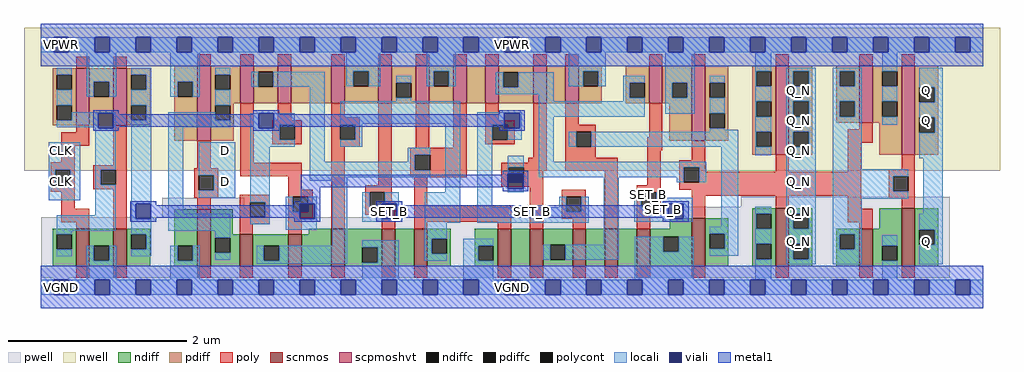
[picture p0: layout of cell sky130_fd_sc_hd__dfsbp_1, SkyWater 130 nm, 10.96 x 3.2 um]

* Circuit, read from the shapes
.subckt sky130_fd_sc_hd__dfsbp_1 CLK D SET_B VGND VNB VPB VPWR Q Q_N
XM1 VGND CLK n1 VNB sky130_fd_pr__nfet_01v8 w=0.42 l=0.15
XM2 n2 n1 VGND VNB sky130_fd_pr__nfet_01v8 w=0.42 l=0.15
XM3 n3 D VGND VNB sky130_fd_pr__nfet_01v8 w=0.64 l=0.15
XM4 n4 n1 n3 VNB sky130_fd_pr__nfet_01v8 w=0.36 l=0.15
XM5 n5 n2 n4 VNB sky130_fd_pr__nfet_01v8 w=0.36 l=0.15
XM6 VGND n6 n5 VNB sky130_fd_pr__nfet_01v8 w=0.42 l=0.15
XM7 n7 SET_B VGND VNB sky130_fd_pr__nfet_01v8 w=0.42 l=0.15
XM8 n6 n4 n7 VNB sky130_fd_pr__nfet_01v8 w=0.42 l=0.15
XM9 n8 n4 VGND VNB sky130_fd_pr__nfet_01v8 w=0.42 l=0.15
XM10 n9 n2 n8 VNB sky130_fd_pr__nfet_01v8 w=0.42 l=0.15
XM11 n10 n1 n9 VNB sky130_fd_pr__nfet_01v8 w=0.42 l=0.15
XM12 n11 n12 n10 VNB sky130_fd_pr__nfet_01v8 w=0.42 l=0.15
XM13 VGND SET_B n11 VNB sky130_fd_pr__nfet_01v8 w=0.42 l=0.15
XM14 n12 n9 VGND VNB sky130_fd_pr__nfet_01v8 w=0.54 l=0.15
XM15 Q_N n9 VGND VNB sky130_fd_pr__nfet_01v8 w=0.65 l=0.15
XM16 VGND n9 n13 VNB sky130_fd_pr__nfet_01v8 w=0.42 l=0.15
XM17 Q n13 VGND VNB sky130_fd_pr__nfet_01v8 w=0.65 l=0.15
XM18 VPWR CLK n1 VPB sky130_fd_pr__pfet_01v8_hvt w=0.64 l=0.15
XM19 n2 n1 VPWR VPB sky130_fd_pr__pfet_01v8_hvt w=0.64 l=0.15
XM20 n3 D VPWR VPB sky130_fd_pr__pfet_01v8_hvt w=0.84 l=0.15
XM21 n4 n2 n3 VPB sky130_fd_pr__pfet_01v8_hvt w=0.42 l=0.15
XM22 n14 n1 n4 VPB sky130_fd_pr__pfet_01v8_hvt w=0.42 l=0.15
XM23 VPWR n6 n14 VPB sky130_fd_pr__pfet_01v8_hvt w=0.42 l=0.15
XM24 n6 SET_B VPWR VPB sky130_fd_pr__pfet_01v8_hvt w=0.42 l=0.15
XM25 VPWR n4 n6 VPB sky130_fd_pr__pfet_01v8_hvt w=0.42 l=0.15
XM26 n15 n4 VPWR VPB sky130_fd_pr__pfet_01v8_hvt w=0.42 l=0.15
XM27 n9 n1 n15 VPB sky130_fd_pr__pfet_01v8_hvt w=0.42 l=0.15
XM28 n16 n2 n9 VPB sky130_fd_pr__pfet_01v8_hvt w=0.42 l=0.15
XM29 VPWR n12 n16 VPB sky130_fd_pr__pfet_01v8_hvt w=0.42 l=0.15
XM30 VPWR SET_B n9 VPB sky130_fd_pr__pfet_01v8_hvt w=0.42 l=0.15
XM31 n12 n9 VPWR VPB sky130_fd_pr__pfet_01v8_hvt w=0.84 l=0.15
XM32 Q_N n9 VPWR VPB sky130_fd_pr__pfet_01v8_hvt w=1 l=0.15
XM33 VPWR n9 n13 VPB sky130_fd_pr__pfet_01v8_hvt w=0.64 l=0.15
XM34 Q n13 VPWR VPB sky130_fd_pr__pfet_01v8_hvt w=1 l=0.15
.ends

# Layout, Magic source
magic
tech sky130B
magscale 1 2
<< nwell >>
rect -38 261 2154 582
<< pwell >>
rect 273 157 457 201
rect 1572 181 2041 203
rect 1386 157 2041 181
rect 1 21 2041 157
rect 29 -17 63 21
<< scnmos >>
rect 79 47 109 131
rect 163 47 193 131
rect 351 47 381 175
rect 446 47 476 119
rect 556 47 586 119
rect 652 47 682 131
rect 766 47 796 131
rect 838 47 868 131
rect 1026 47 1056 131
rect 1098 47 1128 131
rect 1194 47 1224 131
rect 1266 47 1296 131
rect 1338 47 1368 131
rect 1462 47 1492 155
rect 1650 47 1680 177
rect 1838 47 1868 131
rect 1933 47 1963 177
<< scpmoshvt >>
rect 79 363 109 491
rect 163 363 193 491
rect 351 329 381 497
rect 448 413 478 497
rect 532 413 562 497
rect 652 413 682 497
rect 758 413 788 497
rect 842 413 872 497
rect 926 413 956 497
rect 998 413 1028 497
rect 1106 413 1136 497
rect 1178 413 1208 497
rect 1366 413 1396 497
rect 1462 329 1492 497
rect 1650 297 1680 497
rect 1838 369 1868 497
rect 1933 297 1963 497
<< ndiff >>
rect 27 119 79 131
rect 27 85 35 119
rect 69 85 79 119
rect 27 47 79 85
rect 109 93 163 131
rect 109 59 119 93
rect 153 59 163 93
rect 109 47 163 59
rect 193 119 245 131
rect 193 85 203 119
rect 237 85 245 119
rect 193 47 245 85
rect 299 93 351 175
rect 299 59 307 93
rect 341 59 351 93
rect 299 47 351 59
rect 381 119 431 175
rect 1598 165 1650 177
rect 1412 131 1462 155
rect 601 119 652 131
rect 381 111 446 119
rect 381 77 391 111
rect 425 77 446 111
rect 381 47 446 77
rect 476 93 556 119
rect 476 59 501 93
rect 535 59 556 93
rect 476 47 556 59
rect 586 47 652 119
rect 682 89 766 131
rect 682 55 722 89
rect 756 55 766 89
rect 682 47 766 55
rect 796 47 838 131
rect 868 109 920 131
rect 868 75 878 109
rect 912 75 920 109
rect 868 47 920 75
rect 974 93 1026 131
rect 974 59 982 93
rect 1016 59 1026 93
rect 974 47 1026 59
rect 1056 47 1098 131
rect 1128 95 1194 131
rect 1128 61 1144 95
rect 1178 61 1194 95
rect 1128 47 1194 61
rect 1224 47 1266 131
rect 1296 47 1338 131
rect 1368 113 1462 131
rect 1368 79 1398 113
rect 1432 79 1462 113
rect 1368 47 1462 79
rect 1492 120 1544 155
rect 1492 86 1502 120
rect 1536 86 1544 120
rect 1492 47 1544 86
rect 1598 131 1606 165
rect 1640 131 1650 165
rect 1598 97 1650 131
rect 1598 63 1606 97
rect 1640 63 1650 97
rect 1598 47 1650 63
rect 1680 165 1732 177
rect 1680 131 1690 165
rect 1724 131 1732 165
rect 1883 131 1933 177
rect 1680 97 1732 131
rect 1680 63 1690 97
rect 1724 63 1732 97
rect 1680 47 1732 63
rect 1786 119 1838 131
rect 1786 85 1794 119
rect 1828 85 1838 119
rect 1786 47 1838 85
rect 1868 93 1933 131
rect 1868 59 1889 93
rect 1923 59 1933 93
rect 1868 47 1933 59
rect 1963 129 2015 177
rect 1963 95 1973 129
rect 2007 95 2015 129
rect 1963 47 2015 95
<< pdiff >>
rect 27 477 79 491
rect 27 443 35 477
rect 69 443 79 477
rect 27 409 79 443
rect 27 375 35 409
rect 69 375 79 409
rect 27 363 79 375
rect 109 461 163 491
rect 109 427 119 461
rect 153 427 163 461
rect 109 363 163 427
rect 193 477 245 491
rect 193 443 203 477
rect 237 443 245 477
rect 193 409 245 443
rect 193 375 203 409
rect 237 375 245 409
rect 193 363 245 375
rect 299 461 351 497
rect 299 427 307 461
rect 341 427 351 461
rect 299 329 351 427
rect 381 477 448 497
rect 381 443 391 477
rect 425 443 448 477
rect 381 413 448 443
rect 478 484 532 497
rect 478 450 488 484
rect 522 450 532 484
rect 478 413 532 450
rect 562 413 652 497
rect 682 485 758 497
rect 682 451 702 485
rect 736 451 758 485
rect 682 413 758 451
rect 788 459 842 497
rect 788 425 798 459
rect 832 425 842 459
rect 788 413 842 425
rect 872 485 926 497
rect 872 451 882 485
rect 916 451 926 485
rect 872 413 926 451
rect 956 413 998 497
rect 1028 483 1106 497
rect 1028 449 1038 483
rect 1072 449 1106 483
rect 1028 413 1106 449
rect 1136 413 1178 497
rect 1208 485 1260 497
rect 1208 451 1218 485
rect 1252 451 1260 485
rect 1208 413 1260 451
rect 1314 459 1366 497
rect 1314 425 1322 459
rect 1356 425 1366 459
rect 1314 413 1366 425
rect 1396 459 1462 497
rect 1396 425 1418 459
rect 1452 425 1462 459
rect 1396 413 1462 425
rect 381 409 433 413
rect 381 375 391 409
rect 425 375 433 409
rect 381 329 433 375
rect 1411 329 1462 413
rect 1492 459 1544 497
rect 1492 425 1502 459
rect 1536 425 1544 459
rect 1492 391 1544 425
rect 1492 357 1502 391
rect 1536 357 1544 391
rect 1492 329 1544 357
rect 1598 485 1650 497
rect 1598 451 1606 485
rect 1640 451 1650 485
rect 1598 417 1650 451
rect 1598 383 1606 417
rect 1640 383 1650 417
rect 1598 349 1650 383
rect 1598 315 1606 349
rect 1640 315 1650 349
rect 1598 297 1650 315
rect 1680 485 1732 497
rect 1680 451 1690 485
rect 1724 451 1732 485
rect 1680 417 1732 451
rect 1680 383 1690 417
rect 1724 383 1732 417
rect 1680 349 1732 383
rect 1786 485 1838 497
rect 1786 451 1794 485
rect 1828 451 1838 485
rect 1786 417 1838 451
rect 1786 383 1794 417
rect 1828 383 1838 417
rect 1786 369 1838 383
rect 1868 485 1933 497
rect 1868 451 1889 485
rect 1923 451 1933 485
rect 1868 417 1933 451
rect 1868 383 1889 417
rect 1923 383 1933 417
rect 1868 369 1933 383
rect 1680 315 1690 349
rect 1724 315 1732 349
rect 1680 297 1732 315
rect 1883 297 1933 369
rect 1963 449 2015 497
rect 1963 415 1973 449
rect 2007 415 2015 449
rect 1963 381 2015 415
rect 1963 347 1973 381
rect 2007 347 2015 381
rect 1963 297 2015 347
<< ndiffc >>
rect 35 85 69 119
rect 119 59 153 93
rect 203 85 237 119
rect 307 59 341 93
rect 391 77 425 111
rect 501 59 535 93
rect 722 55 756 89
rect 878 75 912 109
rect 982 59 1016 93
rect 1144 61 1178 95
rect 1398 79 1432 113
rect 1502 86 1536 120
rect 1606 131 1640 165
rect 1606 63 1640 97
rect 1690 131 1724 165
rect 1690 63 1724 97
rect 1794 85 1828 119
rect 1889 59 1923 93
rect 1973 95 2007 129
<< pdiffc >>
rect 35 443 69 477
rect 35 375 69 409
rect 119 427 153 461
rect 203 443 237 477
rect 203 375 237 409
rect 307 427 341 461
rect 391 443 425 477
rect 488 450 522 484
rect 702 451 736 485
rect 798 425 832 459
rect 882 451 916 485
rect 1038 449 1072 483
rect 1218 451 1252 485
rect 1322 425 1356 459
rect 1418 425 1452 459
rect 391 375 425 409
rect 1502 425 1536 459
rect 1502 357 1536 391
rect 1606 451 1640 485
rect 1606 383 1640 417
rect 1606 315 1640 349
rect 1690 451 1724 485
rect 1690 383 1724 417
rect 1794 451 1828 485
rect 1794 383 1828 417
rect 1889 451 1923 485
rect 1889 383 1923 417
rect 1690 315 1724 349
rect 1973 415 2007 449
rect 1973 347 2007 381
<< poly >>
rect 79 491 109 517
rect 163 491 193 517
rect 351 497 381 523
rect 448 497 478 523
rect 532 497 562 523
rect 652 497 682 523
rect 758 497 788 523
rect 842 497 872 523
rect 926 497 956 523
rect 998 497 1028 523
rect 1106 497 1136 523
rect 1178 497 1208 523
rect 1366 497 1396 523
rect 1462 497 1492 523
rect 1650 497 1680 523
rect 1838 497 1868 523
rect 1933 497 1963 523
rect 79 348 109 363
rect 46 318 109 348
rect 46 280 76 318
rect 22 264 76 280
rect 163 274 193 363
rect 22 230 32 264
rect 66 230 76 264
rect 22 214 76 230
rect 118 264 193 274
rect 351 267 381 329
rect 448 279 478 413
rect 532 375 562 413
rect 652 381 682 413
rect 520 365 586 375
rect 520 331 536 365
rect 570 331 586 365
rect 520 321 586 331
rect 652 365 716 381
rect 652 331 672 365
rect 706 331 716 365
rect 652 315 716 331
rect 118 230 134 264
rect 168 230 193 264
rect 118 220 193 230
rect 46 176 76 214
rect 46 146 109 176
rect 79 131 109 146
rect 163 131 193 220
rect 344 251 398 267
rect 344 217 354 251
rect 388 217 398 251
rect 448 249 586 279
rect 344 201 398 217
rect 556 219 586 249
rect 351 175 381 201
rect 446 191 514 207
rect 446 157 470 191
rect 504 157 514 191
rect 446 141 514 157
rect 556 203 610 219
rect 556 169 566 203
rect 600 169 610 203
rect 556 153 610 169
rect 446 119 476 141
rect 556 119 586 153
rect 652 131 682 315
rect 758 229 788 413
rect 842 313 872 413
rect 926 313 956 413
rect 998 375 1028 413
rect 998 365 1064 375
rect 998 331 1014 365
rect 1048 331 1064 365
rect 998 321 1064 331
rect 830 297 956 313
rect 830 263 840 297
rect 874 263 956 297
rect 1106 291 1136 413
rect 1094 279 1136 291
rect 830 247 956 263
rect 1034 269 1136 279
rect 728 213 788 229
rect 728 179 738 213
rect 772 193 788 213
rect 772 179 796 193
rect 728 163 796 179
rect 766 131 796 163
rect 838 183 868 247
rect 1034 235 1050 269
rect 1084 261 1136 269
rect 1178 365 1208 413
rect 1178 349 1246 365
rect 1178 315 1202 349
rect 1236 315 1246 349
rect 1366 337 1396 413
rect 1178 291 1246 315
rect 1362 307 1396 337
rect 1178 261 1296 291
rect 1084 235 1128 261
rect 1034 225 1128 235
rect 838 147 1056 183
rect 838 131 868 147
rect 1026 131 1056 147
rect 1098 131 1128 225
rect 1170 203 1224 219
rect 1170 169 1180 203
rect 1214 169 1224 203
rect 1170 153 1224 169
rect 1194 131 1224 153
rect 1266 131 1296 261
rect 1362 229 1392 307
rect 1462 285 1492 329
rect 1838 354 1868 369
rect 1812 324 1868 354
rect 1338 213 1392 229
rect 1434 269 1492 285
rect 1434 235 1444 269
rect 1478 259 1492 269
rect 1650 259 1680 297
rect 1812 259 1842 324
rect 1933 265 1963 297
rect 1478 235 1842 259
rect 1434 219 1842 235
rect 1338 179 1348 213
rect 1382 179 1392 213
rect 1338 163 1392 179
rect 1462 205 1842 219
rect 1338 131 1368 163
rect 1462 155 1492 205
rect 1650 177 1680 205
rect 1812 176 1842 205
rect 1904 249 1963 265
rect 1904 215 1914 249
rect 1948 215 1963 249
rect 1904 199 1963 215
rect 1933 177 1963 199
rect 1812 146 1868 176
rect 1838 131 1868 146
rect 79 21 109 47
rect 163 21 193 47
rect 351 21 381 47
rect 446 21 476 47
rect 556 21 586 47
rect 652 21 682 47
rect 766 21 796 47
rect 838 21 868 47
rect 1026 21 1056 47
rect 1098 21 1128 47
rect 1194 21 1224 47
rect 1266 21 1296 47
rect 1338 21 1368 47
rect 1462 21 1492 47
rect 1650 21 1680 47
rect 1838 21 1868 47
rect 1933 21 1963 47
<< polycont >>
rect 32 230 66 264
rect 536 331 570 365
rect 672 331 706 365
rect 134 230 168 264
rect 354 217 388 251
rect 470 157 504 191
rect 566 169 600 203
rect 1014 331 1048 365
rect 840 263 874 297
rect 738 179 772 213
rect 1050 235 1084 269
rect 1202 315 1236 349
rect 1180 169 1214 203
rect 1444 235 1478 269
rect 1348 179 1382 213
rect 1914 215 1948 249
<< locali >>
rect 0 527 29 561
rect 63 527 121 561
rect 155 527 213 561
rect 247 527 305 561
rect 339 527 397 561
rect 431 527 489 561
rect 523 527 581 561
rect 615 527 673 561
rect 707 527 765 561
rect 799 527 857 561
rect 891 527 949 561
rect 983 527 1041 561
rect 1075 527 1133 561
rect 1167 527 1225 561
rect 1259 527 1317 561
rect 1351 527 1409 561
rect 1443 527 1501 561
rect 1535 527 1593 561
rect 1627 527 1685 561
rect 1719 527 1777 561
rect 1811 527 1869 561
rect 1903 527 1961 561
rect 1995 527 2053 561
rect 2087 527 2116 561
rect 35 477 69 493
rect 35 409 69 443
rect 103 461 169 527
rect 103 427 119 461
rect 153 427 169 461
rect 203 477 248 493
rect 237 443 248 477
rect 203 409 248 443
rect 291 461 357 527
rect 291 427 307 461
rect 341 427 357 461
rect 391 477 425 493
rect 686 485 762 527
rect 472 450 488 484
rect 522 450 638 484
rect 686 451 702 485
rect 736 451 762 485
rect 866 485 932 527
rect 798 459 832 475
rect 69 391 168 393
rect 69 375 129 391
rect 35 359 129 375
rect 122 357 129 359
rect 163 357 168 391
rect 18 264 88 325
rect 18 230 32 264
rect 66 230 88 264
rect 18 195 88 230
rect 122 264 168 357
rect 122 230 134 264
rect 122 161 168 230
rect 35 127 168 161
rect 237 375 248 409
rect 391 409 425 443
rect 203 187 248 375
rect 203 153 213 187
rect 247 153 248 187
rect 35 119 69 127
rect 203 119 248 153
rect 286 375 391 393
rect 286 359 425 375
rect 286 165 320 359
rect 470 357 489 391
rect 523 365 570 391
rect 523 357 536 365
rect 470 331 536 357
rect 354 251 436 325
rect 388 217 436 251
rect 354 201 436 217
rect 470 315 570 331
rect 470 191 514 315
rect 604 281 638 450
rect 866 451 882 485
rect 916 451 932 485
rect 1186 485 1268 527
rect 1022 449 1038 483
rect 1072 449 1152 483
rect 1186 451 1218 485
rect 1252 451 1268 485
rect 1308 459 1356 475
rect 1022 433 1152 449
rect 798 417 832 425
rect 1118 417 1152 433
rect 1308 425 1322 459
rect 1308 417 1356 425
rect 672 367 942 417
rect 672 365 722 367
rect 706 331 722 365
rect 672 315 722 331
rect 824 297 874 313
rect 824 281 840 297
rect 604 263 840 281
rect 604 247 874 263
rect 604 239 688 247
rect 286 127 425 165
rect 504 157 514 191
rect 470 141 514 157
rect 550 169 566 203
rect 600 187 620 203
rect 550 153 581 169
rect 615 153 620 187
rect 550 129 620 153
rect 35 69 69 85
rect 103 59 119 93
rect 153 59 169 93
rect 237 85 248 119
rect 391 111 425 127
rect 203 69 248 85
rect 103 17 169 59
rect 291 59 307 93
rect 341 59 357 93
rect 654 93 688 239
rect 908 213 942 367
rect 722 179 738 213
rect 772 187 804 213
rect 722 153 765 179
rect 799 153 804 187
rect 722 147 804 153
rect 862 145 942 213
rect 980 391 1080 393
rect 980 365 1041 391
rect 980 179 1014 365
rect 1075 357 1080 391
rect 1048 331 1080 357
rect 1118 383 1356 417
rect 1402 459 1468 527
rect 1604 485 1640 527
rect 1402 425 1418 459
rect 1452 425 1468 459
rect 1402 389 1468 425
rect 1502 459 1536 475
rect 1502 391 1536 425
rect 1048 269 1084 295
rect 1048 255 1050 269
rect 1048 221 1049 255
rect 1118 281 1152 383
rect 1502 353 1536 357
rect 1604 451 1606 485
rect 1604 417 1640 451
rect 1604 383 1606 417
rect 1502 349 1566 353
rect 1186 315 1202 349
rect 1236 315 1566 349
rect 1118 269 1494 281
rect 1118 247 1444 269
rect 1083 221 1084 235
rect 1048 213 1084 221
rect 1164 179 1180 203
rect 980 169 1180 179
rect 1214 169 1230 203
rect 980 145 1230 169
rect 862 109 912 145
rect 391 61 425 77
rect 291 17 357 59
rect 485 59 501 93
rect 535 59 688 93
rect 485 53 688 59
rect 722 89 804 105
rect 756 55 804 89
rect 862 75 878 109
rect 862 59 912 75
rect 948 93 1016 109
rect 1264 95 1298 247
rect 1428 235 1444 247
rect 1478 235 1494 269
rect 1332 179 1348 213
rect 1382 201 1398 213
rect 1382 187 1464 201
rect 1382 179 1409 187
rect 1332 153 1409 179
rect 1443 153 1464 187
rect 1332 147 1464 153
rect 1528 136 1566 315
rect 1604 349 1640 383
rect 1604 315 1606 349
rect 1604 296 1640 315
rect 1674 485 1740 493
rect 1674 451 1690 485
rect 1724 451 1740 485
rect 1674 417 1740 451
rect 1674 383 1690 417
rect 1724 383 1740 417
rect 1674 349 1740 383
rect 1674 315 1690 349
rect 1724 315 1740 349
rect 1502 120 1566 136
rect 948 59 982 93
rect 1128 61 1144 95
rect 1178 61 1298 95
rect 1334 79 1398 113
rect 1432 79 1466 113
rect 722 17 804 55
rect 948 17 1016 59
rect 1334 17 1466 79
rect 1536 86 1566 120
rect 1502 70 1566 86
rect 1604 165 1640 181
rect 1604 131 1606 165
rect 1604 97 1640 131
rect 1604 63 1606 97
rect 1604 17 1640 63
rect 1674 165 1740 315
rect 1674 131 1690 165
rect 1724 131 1740 165
rect 1674 97 1740 131
rect 1674 63 1690 97
rect 1724 63 1740 97
rect 1674 51 1740 63
rect 1778 485 1844 493
rect 1778 451 1794 485
rect 1828 451 1844 485
rect 1778 417 1844 451
rect 1778 383 1794 417
rect 1828 383 1844 417
rect 1778 265 1844 383
rect 1889 485 1923 527
rect 1889 417 1923 451
rect 1889 365 1923 383
rect 1973 449 2025 493
rect 2007 415 2025 449
rect 1973 381 2025 415
rect 2007 347 2025 381
rect 1973 289 2025 347
rect 1778 249 1948 265
rect 1778 215 1914 249
rect 1778 199 1948 215
rect 1778 119 1844 199
rect 1982 165 2025 289
rect 1778 85 1794 119
rect 1828 85 1844 119
rect 1973 129 2025 165
rect 1778 51 1844 85
rect 1889 93 1923 117
rect 1889 17 1923 59
rect 2007 95 2025 129
rect 1973 51 2025 95
rect 0 -17 29 17
rect 63 -17 121 17
rect 155 -17 213 17
rect 247 -17 305 17
rect 339 -17 397 17
rect 431 -17 489 17
rect 523 -17 581 17
rect 615 -17 673 17
rect 707 -17 765 17
rect 799 -17 857 17
rect 891 -17 949 17
rect 983 -17 1041 17
rect 1075 -17 1133 17
rect 1167 -17 1225 17
rect 1259 -17 1317 17
rect 1351 -17 1409 17
rect 1443 -17 1501 17
rect 1535 -17 1593 17
rect 1627 -17 1685 17
rect 1719 -17 1777 17
rect 1811 -17 1869 17
rect 1903 -17 1961 17
rect 1995 -17 2053 17
rect 2087 -17 2116 17
<< viali >>
rect 29 527 63 561
rect 121 527 155 561
rect 213 527 247 561
rect 305 527 339 561
rect 397 527 431 561
rect 489 527 523 561
rect 581 527 615 561
rect 673 527 707 561
rect 765 527 799 561
rect 857 527 891 561
rect 949 527 983 561
rect 1041 527 1075 561
rect 1133 527 1167 561
rect 1225 527 1259 561
rect 1317 527 1351 561
rect 1409 527 1443 561
rect 1501 527 1535 561
rect 1593 527 1627 561
rect 1685 527 1719 561
rect 1777 527 1811 561
rect 1869 527 1903 561
rect 1961 527 1995 561
rect 2053 527 2087 561
rect 129 357 163 391
rect 213 153 247 187
rect 489 357 523 391
rect 581 169 600 187
rect 600 169 615 187
rect 581 153 615 169
rect 765 179 772 187
rect 772 179 799 187
rect 765 153 799 179
rect 1041 365 1075 391
rect 1041 357 1048 365
rect 1048 357 1075 365
rect 1049 235 1050 255
rect 1050 235 1083 255
rect 1049 221 1083 235
rect 1409 153 1443 187
rect 29 -17 63 17
rect 121 -17 155 17
rect 213 -17 247 17
rect 305 -17 339 17
rect 397 -17 431 17
rect 489 -17 523 17
rect 581 -17 615 17
rect 673 -17 707 17
rect 765 -17 799 17
rect 857 -17 891 17
rect 949 -17 983 17
rect 1041 -17 1075 17
rect 1133 -17 1167 17
rect 1225 -17 1259 17
rect 1317 -17 1351 17
rect 1409 -17 1443 17
rect 1501 -17 1535 17
rect 1593 -17 1627 17
rect 1685 -17 1719 17
rect 1777 -17 1811 17
rect 1869 -17 1903 17
rect 1961 -17 1995 17
rect 2053 -17 2087 17
<< metal1 >>
rect 0 561 2116 592
rect 0 527 29 561
rect 63 527 121 561
rect 155 527 213 561
rect 247 527 305 561
rect 339 527 397 561
rect 431 527 489 561
rect 523 527 581 561
rect 615 527 673 561
rect 707 527 765 561
rect 799 527 857 561
rect 891 527 949 561
rect 983 527 1041 561
rect 1075 527 1133 561
rect 1167 527 1225 561
rect 1259 527 1317 561
rect 1351 527 1409 561
rect 1443 527 1501 561
rect 1535 527 1593 561
rect 1627 527 1685 561
rect 1719 527 1777 561
rect 1811 527 1869 561
rect 1903 527 1961 561
rect 1995 527 2053 561
rect 2087 527 2116 561
rect 0 496 2116 527
rect 117 391 175 397
rect 117 357 129 391
rect 163 388 175 391
rect 477 391 535 397
rect 477 388 489 391
rect 163 360 489 388
rect 163 357 175 360
rect 117 351 175 357
rect 477 357 489 360
rect 523 388 535 391
rect 1029 391 1087 397
rect 1029 388 1041 391
rect 523 360 1041 388
rect 523 357 535 360
rect 477 351 535 357
rect 1029 357 1041 360
rect 1075 357 1087 391
rect 1029 351 1087 357
rect 1037 255 1095 261
rect 1037 252 1049 255
rect 584 224 1049 252
rect 584 193 627 224
rect 1037 221 1049 224
rect 1083 221 1095 255
rect 1037 215 1095 221
rect 201 187 259 193
rect 201 153 213 187
rect 247 184 259 187
rect 569 187 627 193
rect 569 184 581 187
rect 247 156 581 184
rect 247 153 259 156
rect 201 147 259 153
rect 569 153 581 156
rect 615 153 627 187
rect 569 147 627 153
rect 753 187 811 193
rect 753 153 765 187
rect 799 184 811 187
rect 1397 187 1455 193
rect 1397 184 1409 187
rect 799 156 1409 184
rect 799 153 811 156
rect 753 147 811 153
rect 1397 153 1409 156
rect 1443 153 1455 187
rect 1397 147 1455 153
rect 0 17 2116 48
rect 0 -17 29 17
rect 63 -17 121 17
rect 155 -17 213 17
rect 247 -17 305 17
rect 339 -17 397 17
rect 431 -17 489 17
rect 523 -17 581 17
rect 615 -17 673 17
rect 707 -17 765 17
rect 799 -17 857 17
rect 891 -17 949 17
rect 983 -17 1041 17
rect 1075 -17 1133 17
rect 1167 -17 1225 17
rect 1259 -17 1317 17
rect 1351 -17 1409 17
rect 1443 -17 1501 17
rect 1535 -17 1593 17
rect 1627 -17 1685 17
rect 1719 -17 1777 17
rect 1811 -17 1869 17
rect 1903 -17 1961 17
rect 1995 -17 2053 17
rect 2087 -17 2116 17
rect 0 -48 2116 -17
<< labels >>
flabel locali s 1973 425 2007 459 0 FreeSans 400 0 0 0 Q
port 8 nsew signal output
flabel locali s 1973 357 2007 391 0 FreeSans 400 0 0 0 Q
port 8 nsew signal output
flabel locali s 1973 85 2007 119 0 FreeSans 400 0 0 0 Q
port 8 nsew signal output
flabel locali s 1685 85 1719 119 0 FreeSans 400 0 0 0 Q_N
port 9 nsew signal output
flabel locali s 1685 153 1719 187 0 FreeSans 400 0 0 0 Q_N
port 9 nsew signal output
flabel locali s 1685 221 1719 255 0 FreeSans 400 0 0 0 Q_N
port 9 nsew signal output
flabel locali s 1685 289 1719 323 0 FreeSans 400 0 0 0 Q_N
port 9 nsew signal output
flabel locali s 1685 357 1719 391 0 FreeSans 400 0 0 0 Q_N
port 9 nsew signal output
flabel locali s 1685 425 1719 459 0 FreeSans 400 0 0 0 Q_N
port 9 nsew signal output
flabel locali s 397 289 431 323 0 FreeSans 200 0 0 0 D
port 2 nsew signal input
flabel locali s 397 221 431 255 0 FreeSans 200 0 0 0 D
port 2 nsew signal input
flabel locali s 29 527 63 561 3 FreeSans 400 0 0 0 VPWR
port 7 nsew power bidirectional abutment
flabel locali s 765 153 799 187 0 FreeSans 400 0 0 0 SET_B
port 3 nsew signal input
flabel locali s 29 289 63 323 0 FreeSans 400 0 0 0 CLK
port 1 nsew clock input
flabel locali s 29 221 63 255 0 FreeSans 400 0 0 0 CLK
port 1 nsew clock input
flabel locali s 29 -17 63 17 3 FreeSans 400 0 0 0 VGND
port 4 nsew ground bidirectional abutment
flabel nwell s 29 527 63 561 0 FreeSans 200 0 0 0 VPB
port 6 nsew power bidirectional
flabel nwell s 46 544 46 544 0 FreeSans 200 0 0 0 VPB
flabel nwell s 46 544 46 544 3 FreeSans 400 0 0 0 VPB
flabel pwell s 29 -17 63 17 0 FreeSans 200 0 0 0 VNB
port 5 nsew ground bidirectional
flabel pwell s 46 0 46 0 0 FreeSans 200 0 0 0 VNB
flabel pwell s 46 0 46 0 3 FreeSans 400 0 0 0 VNB
flabel metal1 s 29 -17 63 17 0 FreeSans 200 0 0 0 VGND
port 4 nsew ground bidirectional abutment
flabel metal1 s 29 527 63 561 0 FreeSans 200 0 0 0 VPWR
port 7 nsew power bidirectional abutment
flabel metal1 s 46 544 46 544 0 FreeSans 200 0 0 0 VPWR
flabel metal1 s 46 0 46 0 0 FreeSans 200 0 0 0 VGND
rlabel comment s 0 0 0 0 4 dfsbp_1
rlabel locali s 1332 201 1398 213 1 SET_B
port 3 nsew signal input
rlabel locali s 1332 147 1464 201 1 SET_B
port 3 nsew signal input
rlabel metal1 s 1397 184 1455 193 1 SET_B
port 3 nsew signal input
rlabel metal1 s 1397 147 1455 156 1 SET_B
port 3 nsew signal input
rlabel metal1 s 753 184 811 193 1 SET_B
port 3 nsew signal input
rlabel metal1 s 753 156 1455 184 1 SET_B
port 3 nsew signal input
rlabel metal1 s 753 147 811 156 1 SET_B
port 3 nsew signal input
rlabel metal1 s 0 -48 2116 48 1 VGND
port 4 nsew ground bidirectional abutment
rlabel metal1 s 0 496 2116 592 1 VPWR
port 7 nsew power bidirectional abutment
<< properties >>
string FIXED_BBOX 0 0 2116 544
string GDS_END 2496318
string GDS_FILE $PDKPATH/libs.ref/sky130_fd_sc_hd/gds/sky130_fd_sc_hd.gds
string GDS_START 2478552
string LEFclass CORE
string LEFsite unithd
string LEFsymmetry X Y R90
<< end >>
